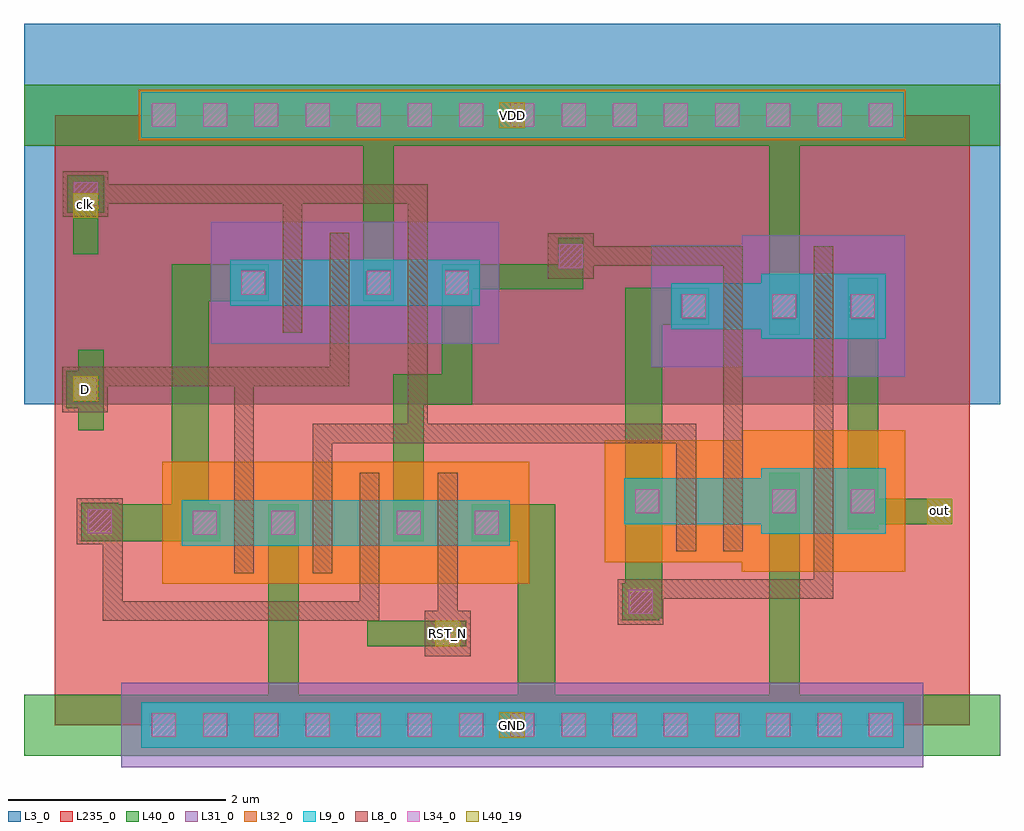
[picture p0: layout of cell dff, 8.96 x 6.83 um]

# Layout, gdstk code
from math import pi, radians
import gdstk
lib = gdstk.Library(unit=1e-6, precision=1e-09)
def R(c, l, rs):  # rectangles x0, y0, x1, y1
    for r in rs: c.add(gdstk.rectangle(r[:2], r[2:], *l))
def A(c, l, x, y, w, h, nx, ny, dx, dy):  # array of equal rectangles
    R(c, l, [(x+i*dx, y+j*dy, x+i*dx+w, y+j*dy+h) for i in range(nx) for j in range(ny)])
L3_0 = (3, 0)
L8_0 = (8, 0)
L9_0 = (9, 0)
L31_0 = (31, 0)
L32_0 = (32, 0)
L34_0 = (34, 0)
L40_0 = (40, 0)
L40_19 = (40, 19)
L235_0 = (235, 0)

nmos_18_cdns_78229601810 = lib.new_cell('nmos_18_CDNS_782296018100')
R(nmos_18_cdns_78229601810, L8_0, [(0.48,-0.25,0.66,0), (0.48,0,0.66,0.42), (0.48,0.42,0.66,0.67)])
R(nmos_18_cdns_78229601810, L9_0, [(0.21,0,0.48,0.42), (0.48,0,0.66,0.42), (0.66,0,0.785,0.42)])
R(nmos_18_cdns_78229601810, L32_0, [(0.03,-0.35,0.965,0.77)])
R(nmos_18_cdns_78229601810, L40_0, [(0.07,0.04,0.35,0.38)])
nmos_18_cdns_78229601810.add(gdstk.Label('[@instanceName]', (0.57,0.212), layer=77, texttype=7))

c_nmos_18_cdns_78229601810 = lib.new_cell('nmos_18_CDNS_782296018101')
R(c_nmos_18_cdns_78229601810, L8_0, [(0.48,-0.25,0.66,0), (0.48,0,0.66,0.42), (0.48,0.42,0.66,0.67)])
R(c_nmos_18_cdns_78229601810, L9_0, [(0.31,0,0.48,0.42), (0.48,0,0.66,0.42), (0.66,0,0.785,0.42)])
R(c_nmos_18_cdns_78229601810, L32_0, [(0.13,-0.35,0.965,0.77)])
c_nmos_18_cdns_78229601810.add(gdstk.Label('[@instanceName]', (0.57,0.212), layer=77, texttype=7))

pmos_18_cdns_78229601810 = lib.new_cell('pmos_18_CDNS_782296018102')
R(pmos_18_cdns_78229601810, L3_0, [(-0.22,-0.43,1.215,0.85)])
R(pmos_18_cdns_78229601810, L8_0, [(0.48,-0.25,0.66,0), (0.48,0,0.66,0.42), (0.48,0.42,0.66,0.67)])
R(pmos_18_cdns_78229601810, L9_0, [(0.21,0,0.48,0.42), (0.48,0,0.66,0.42), (0.66,0,0.785,0.42)])
R(pmos_18_cdns_78229601810, L31_0, [(0.03,-0.35,0.965,0.77)])
R(pmos_18_cdns_78229601810, L34_0, [(0.1,0.1,0.32,0.32)])
R(pmos_18_cdns_78229601810, L40_0, [(0.07,0.04,0.35,0.38)])
pmos_18_cdns_78229601810.add(gdstk.Label('[@instanceName]', (0.57,0.212), layer=77, texttype=7))

c_pmos_18_cdns_78229601810 = lib.new_cell('pmos_18_CDNS_782296018103')
R(c_pmos_18_cdns_78229601810, L3_0, [(-0.12,-0.43,1.57,0.85)])
R(c_pmos_18_cdns_78229601810, L8_0, [(0.48,-0.25,0.66,0), (0.48,0,0.66,0.42), (0.48,0.42,0.66,0.67)])
R(c_pmos_18_cdns_78229601810, L9_0, [(0.31,0,0.48,0.42), (0.48,0,0.66,0.42), (0.66,0,1.14,0.42)])
R(c_pmos_18_cdns_78229601810, L31_0, [(0.13,-0.35,1.32,0.77)])
R(c_pmos_18_cdns_78229601810, L34_0, [(0.82,0.1,1.04,0.32)])
R(c_pmos_18_cdns_78229601810, L40_0, [(0.79,0.04,1.07,0.38)])
c_pmos_18_cdns_78229601810.add(gdstk.Label('[@instanceName]', (0.57,0.212), layer=77, texttype=7))

c_pmos_18_cdns_78229601810_ = lib.new_cell('pmos_18_CDNS_782296018104')
R(c_pmos_18_cdns_78229601810_, L3_0, [(-0.22,-0.43,1.57,0.85)])
R(c_pmos_18_cdns_78229601810_, L8_0, [(0.48,-0.25,0.66,0), (0.48,0,0.66,0.42), (0.48,0.42,0.66,0.67)])
R(c_pmos_18_cdns_78229601810_, L9_0, [(0.21,0,0.48,0.42), (0.48,0,0.66,0.42), (0.66,0,1.14,0.42)])
R(c_pmos_18_cdns_78229601810_, L31_0, [(0.03,-0.35,1.32,0.77)])
R(c_pmos_18_cdns_78229601810_, L34_0, [(0.82,0.1,1.04,0.32)])
R(c_pmos_18_cdns_78229601810_, L40_0, [(0.07,0.04,0.35,0.38), (0.79,0.04,1.07,0.38)])
c_pmos_18_cdns_78229601810_.add(gdstk.Label('[@instanceName]', (0.57,0.212), layer=77, texttype=7))

c_nmos_18_cdns_78229601810_ = lib.new_cell('nmos_18_CDNS_782296018105')
R(c_nmos_18_cdns_78229601810_, L8_0, [(0.48,-0.25,0.66,0), (0.48,0,0.66,0.42), (0.48,0.42,0.66,0.67)])
R(c_nmos_18_cdns_78229601810_, L9_0, [(0.355,0,0.48,0.42), (0.48,0,0.66,0.42), (0.66,0,0.93,0.42)])
R(c_nmos_18_cdns_78229601810_, L32_0, [(0.175,-0.35,1.11,0.77)])
R(c_nmos_18_cdns_78229601810_, L34_0, [(0.82,0.1,1.04,0.32)])
R(c_nmos_18_cdns_78229601810_, L40_0, [(0.79,0.04,1.07,0.38)])
c_nmos_18_cdns_78229601810_.add(gdstk.Label('[@instanceName]', (0.57,0.212), layer=77, texttype=7))

c_pmos_18_cdns_78229601810__ = lib.new_cell('pmos_18_CDNS_782296018106')
R(c_pmos_18_cdns_78229601810__, L3_0, [(-0.43,-0.43,1.57,1.03)])
R(c_pmos_18_cdns_78229601810__, L8_0, [(0.48,-0.25,0.66,0), (0.48,0,0.66,0.6), (0.48,0.6,0.66,0.85)])
R(c_pmos_18_cdns_78229601810__, L9_0, [(0,0,0.48,0.6), (0.48,0,0.66,0.6), (0.66,0,1.14,0.6)])
R(c_pmos_18_cdns_78229601810__, L31_0, [(-0.18,-0.35,1.32,0.95)])
R(c_pmos_18_cdns_78229601810__, L34_0, [(0.1,0.19,0.32,0.41), (0.82,0.19,1.04,0.41)])
R(c_pmos_18_cdns_78229601810__, L40_0, [(0.07,0.04,0.35,0.56), (0.79,0.04,1.07,0.56)])
c_pmos_18_cdns_78229601810__.add(gdstk.Label('[@instanceName]', (0.57,0.302), layer=77, texttype=7))

c_pmos_18_cdns_78229601810___ = lib.new_cell('pmos_18_CDNS_782296018107')
R(c_pmos_18_cdns_78229601810___, L3_0, [(-0.075,-0.43,1.57,0.85)])
R(c_pmos_18_cdns_78229601810___, L8_0, [(0.48,-0.25,0.66,0), (0.48,0,0.66,0.42), (0.48,0.42,0.66,0.67)])
R(c_pmos_18_cdns_78229601810___, L9_0, [(0.355,0,0.48,0.42), (0.48,0,0.66,0.42), (0.66,0,1.14,0.42)])
R(c_pmos_18_cdns_78229601810___, L31_0, [(0.175,-0.35,1.32,0.77)])
R(c_pmos_18_cdns_78229601810___, L34_0, [(0.82,0.1,1.04,0.32)])
R(c_pmos_18_cdns_78229601810___, L40_0, [(0.79,0.04,1.07,0.38)])
c_pmos_18_cdns_78229601810___.add(gdstk.Label('[@instanceName]', (0.57,0.212), layer=77, texttype=7))

c_nmos_18_cdns_78229601810__ = lib.new_cell('nmos_18_CDNS_782296018108')
R(c_nmos_18_cdns_78229601810__, L8_0, [(0.48,-0.25,0.66,0), (0.48,0,0.66,0.42), (0.48,0.42,0.66,0.67)])
R(c_nmos_18_cdns_78229601810__, L9_0, [(0.355,0,0.48,0.42), (0.48,0,0.66,0.42), (0.66,0,1.14,0.42)])
R(c_nmos_18_cdns_78229601810__, L32_0, [(0.175,-0.35,1.32,0.77)])
R(c_nmos_18_cdns_78229601810__, L34_0, [(0.82,0.1,1.04,0.32)])
R(c_nmos_18_cdns_78229601810__, L40_0, [(0.79,0.04,1.07,0.38)])
c_nmos_18_cdns_78229601810__.add(gdstk.Label('[@instanceName]', (0.57,0.212), layer=77, texttype=7))

c_nmos_18_cdns_78229601810___ = lib.new_cell('nmos_18_CDNS_782296018109')
R(c_nmos_18_cdns_78229601810___, L8_0, [(0.48,-0.25,0.66,0), (0.48,0,0.66,0.6), (0.48,0.6,0.66,0.85)])
R(c_nmos_18_cdns_78229601810___, L9_0, [(0,0,0.48,0.6), (0.48,0,0.66,0.6), (0.66,0,1.14,0.6)])
R(c_nmos_18_cdns_78229601810___, L32_0, [(-0.18,-0.35,1.32,0.95)])
R(c_nmos_18_cdns_78229601810___, L34_0, [(0.1,0.19,0.32,0.41), (0.82,0.19,1.04,0.41)])
R(c_nmos_18_cdns_78229601810___, L40_0, [(0.07,0.04,0.35,0.56), (0.79,0.04,1.07,0.56)])
c_nmos_18_cdns_78229601810___.add(gdstk.Label('[@instanceName]', (0.57,0.302), layer=77, texttype=7))

c_nmos_18_cdns_78229601810____ = lib.new_cell('nmos_18_CDNS_7822960181010')
R(c_nmos_18_cdns_78229601810____, L8_0, [(0.48,-0.25,0.66,0), (0.48,0,0.66,0.42), (0.48,0.42,0.66,0.67)])
R(c_nmos_18_cdns_78229601810____, L9_0, [(0.21,0,0.48,0.42), (0.48,0,0.66,0.42), (0.66,0,1.14,0.42)])
R(c_nmos_18_cdns_78229601810____, L32_0, [(0.03,-0.35,1.32,0.77)])
R(c_nmos_18_cdns_78229601810____, L34_0, [(0.1,0.1,0.32,0.32), (0.82,0.1,1.04,0.32)])
R(c_nmos_18_cdns_78229601810____, L40_0, [(0.07,0.04,0.35,0.38), (0.79,0.04,1.07,0.38)])
c_nmos_18_cdns_78229601810____.add(gdstk.Label('[@instanceName]', (0.57,0.212), layer=77, texttype=7))

c_nmos_18_cdns_78229601810_____ = lib.new_cell('nmos_18_CDNS_7822960181011')
R(c_nmos_18_cdns_78229601810_____, L8_0, [(0.48,-0.25,0.66,0), (0.48,0,0.66,0.42), (0.48,0.42,0.66,0.67)])
R(c_nmos_18_cdns_78229601810_____, L9_0, [(0,0,0.48,0.42), (0.48,0,0.66,0.42), (0.66,0,0.93,0.42)])
R(c_nmos_18_cdns_78229601810_____, L32_0, [(-0.18,-0.35,1.11,0.77)])
R(c_nmos_18_cdns_78229601810_____, L34_0, [(0.1,0.1,0.32,0.32), (0.82,0.1,1.04,0.32)])
R(c_nmos_18_cdns_78229601810_____, L40_0, [(0.07,0.04,0.35,0.38), (0.79,0.04,1.07,0.38)])
c_nmos_18_cdns_78229601810_____.add(gdstk.Label('[@instanceName]', (0.57,0.212), layer=77, texttype=7))

ptap_lg_cdns_78229601810 = lib.new_cell('PTAP_LG_CDNS_782296018100')
R(ptap_lg_cdns_78229601810, L9_0, [(-3.5,-0.21,3.5,0.21)])
R(ptap_lg_cdns_78229601810, L31_0, [(-3.68,-0.39,3.68,0.39)])
A(ptap_lg_cdns_78229601810, L34_0, -3.4, -0.11, 0.22, 0.22, 15, 1, 0.47, 0)
R(ptap_lg_cdns_78229601810, L40_0, [(-3.46,-0.17,3.46,0.17)])

m1_po_4x_cdns_7822960181 = lib.new_cell('M1_PO_4X_CDNS_782296018101')
R(m1_po_4x_cdns_7822960181, L8_0, [(-0.21,-0.21,0.21,0.21)])
R(m1_po_4x_cdns_7822960181, L34_0, [(-0.11,-0.11,0.11,0.11)])
R(m1_po_4x_cdns_7822960181, L40_0, [(-0.115,-0.17,0.115,0.17)])

m1_po_cdns_782296018102 = lib.new_cell('M1_PO_CDNS_782296018102')
R(m1_po_cdns_782296018102, L8_0, [(-0.21,-0.21,0.21,0.21)])
R(m1_po_cdns_782296018102, L34_0, [(-0.11,-0.11,0.11,0.11)])
R(m1_po_cdns_782296018102, L40_0, [(-0.17,-0.17,0.17,0.17)])

m1_wn_cdns_782296018103 = lib.new_cell('M1_WN_CDNS_782296018103')
R(m1_wn_cdns_782296018103, L3_0, [(-3.68,-0.43,3.68,0.43)])
R(m1_wn_cdns_782296018103, L9_0, [(-3.5,-0.21,3.5,0.21)])
R(m1_wn_cdns_782296018103, L32_0, [(-3.52,-0.23,3.52,0.23)])
A(m1_wn_cdns_782296018103, L34_0, -3.4, -0.11, 0.22, 0.22, 15, 1, 0.47, 0)
R(m1_wn_cdns_782296018103, L40_0, [(-3.46,-0.17,3.46,0.17)])

c_m1_po_4x_cdns_7822960181 = lib.new_cell('M1_PO_4X_CDNS_782296018104')
R(c_m1_po_4x_cdns_7822960181, L8_0, [(-0.21,-0.21,0.21,0.21)])
R(c_m1_po_4x_cdns_7822960181, L34_0, [(-0.11,-0.11,0.11,0.11)])
R(c_m1_po_4x_cdns_7822960181, L40_0, [(-0.17,-0.115,0.17,0.115)])

dff = lib.new_cell('dff')
R(dff, L3_0, [(-0.28,2.945,8.68,6.44)])
R(dff, L40_0, [(-0.28,-0.28,8.68,0.28), (-0.28,5.32,8.68,5.88)])
R(dff, L40_19, [(4.085,-0.115,4.315,0.115), (3.495,0.725,3.725,0.955), (8.01,1.845,8.24,2.075), (0.17,2.97,0.4,3.2), (0.17,4.65,0.4,4.88), (4.085,5.485,4.315,5.715)])
R(dff, L235_0, [(0,0,8.4,5.6)])
dff.add(gdstk.FlexPath([(2.46,2.675),(2.46,2.315)], 0.18, ends=(0.09, 0), simple_path=True, layer=8, datatype=0))  # L8_0
dff.add(gdstk.FlexPath([(5.8,2.515),(5.8,2.675)], 0.18, ends=(0, 0.09), simple_path=True, layer=8, datatype=0))  # L8_0
dff.add(gdstk.FlexPath([(0.28,2.96),(0.28,3.08)], 0.42, ends=(0.09, 0), simple_path=True, layer=8, datatype=0))  # L8_0
dff.add(gdstk.FlexPath([(6.23,4.305),(4.74,4.305)], 0.18, ends=(0.09, 0), simple_path=True, layer=8, datatype=0))  # L8_0
dff.add(gdstk.FlexPath([(5.8,2.675),(3.335,2.675)], 0.18, ends="extended", simple_path=True, layer=8, datatype=0))  # L8_0
dff.add(gdstk.FlexPath([(5.38,1.25),(5.38,1.06)], 0.18, ends=(0.09, 0), simple_path=True, layer=8, datatype=0))  # L8_0
dff.add(gdstk.FlexPath([(7.06,1.25),(5.38,1.25)], 0.18, ends="extended", simple_path=True, layer=8, datatype=0))  # L8_0
dff.add(gdstk.FlexPath([(7.06,1.505),(7.06,1.25)], 0.18, ends=(0, 0.09), simple_path=True, layer=8, datatype=0))  # L8_0
dff.add(gdstk.FlexPath([(0.28,3.2),(0.28,2.875)], 0.18, ends=(0.09, 0), simple_path=True, layer=8, datatype=0))  # L8_0
dff.add(gdstk.FlexPath([(1.74,3.2),(0.28,3.2)], 0.18, ends="extended", simple_path=True, layer=8, datatype=0))  # L8_0
dff.add(gdstk.FlexPath([(3.335,2.675),(3.335,3.6)], 0.18, ends=(0.09, 0), simple_path=True, layer=8, datatype=0))  # L8_0
dff.add(gdstk.FlexPath([(3.335,2.675),(2.46,2.675)], 0.18, ends="extended", simple_path=True, layer=8, datatype=0))  # L8_0
dff.add(gdstk.FlexPath([(2.185,4.875),(0.285,4.875)], 0.18, ends=(0.09, 0), simple_path=True, layer=8, datatype=0))  # L8_0
dff.add(gdstk.FlexPath([(2.615,3.6),(2.615,3.2)], 0.18, ends=(0, 0.09), simple_path=True, layer=8, datatype=0))  # L8_0
dff.add(gdstk.FlexPath([(2.89,1.045),(0.535,1.045)], 0.18, ends="extended", simple_path=True, layer=8, datatype=0))  # L8_0
dff.add(gdstk.FlexPath([(1.74,2.315),(1.74,3.2)], 0.18, ends=(0, 0.09), simple_path=True, layer=8, datatype=0))  # L8_0
dff.add(gdstk.FlexPath([(7.06,3.295),(7.06,2.315)], 0.18, ends="flush", simple_path=True, layer=8, datatype=0))  # L8_0
dff.add(gdstk.FlexPath([(6.23,3.385),(6.23,2.225)], 0.18, ends="flush", simple_path=True, layer=8, datatype=0))  # L8_0
dff.add(gdstk.FlexPath([(0.535,1.045),(0.535,1.87)], 0.18, ends=(0.09, 0.21), simple_path=True, layer=8, datatype=0))  # L8_0
dff.add(gdstk.FlexPath([(0.535,1.87),(0.415,1.87)], 0.42, ends=(0.09, 0), simple_path=True, layer=8, datatype=0))  # L8_0
dff.add(gdstk.FlexPath([(2.185,4.875),(2.185,4.52)], 0.18, ends=(0.09, 0), simple_path=True, layer=8, datatype=0))  # L8_0
dff.add(gdstk.FlexPath([(3.335,4.875),(2.185,4.875)], 0.18, ends="extended", simple_path=True, layer=8, datatype=0))  # L8_0
dff.add(gdstk.FlexPath([(3.335,4.52),(3.335,4.875)], 0.18, ends=(0, 0.09), simple_path=True, layer=8, datatype=0))  # L8_0
dff.add(gdstk.FlexPath([(3.61,1.395),(3.61,0.79)], 0.18, ends="flush", simple_path=True, layer=8, datatype=0))  # L8_0
dff.add(gdstk.FlexPath([(2.89,1.395),(2.89,1.045)], 0.18, ends=(0, 0.09), simple_path=True, layer=8, datatype=0))  # L8_0
dff.add(gdstk.FlexPath([(2.615,3.2),(1.74,3.2)], 0.18, ends="extended", simple_path=True, layer=8, datatype=0))  # L8_0
dff.add(gdstk.FlexPath([(5.41,2.055),(5.58,2.055)], 0.23, ends=(0.17, 0), simple_path=True, layer=40, datatype=0))  # L40_0
dff.add(gdstk.FlexPath([(5.41,1.15),(5.38,1.15)], 0.34, ends=(0.17, 0), simple_path=True, layer=40, datatype=0))  # L40_0
dff.add(gdstk.FlexPath([(3.61,0.84),(2.87,0.84)], 0.23, ends="flush", simple_path=True, layer=40, datatype=0))  # L40_0
dff.add(gdstk.FlexPath([(2.1,1.685),(2.1,0.28)], 0.28, ends="flush", simple_path=True, layer=40, datatype=0))  # L40_0
dff.add(gdstk.FlexPath([(1.245,1.855),(1.24,1.855)], 0.34, ends=(0.17, 0), simple_path=True, layer=40, datatype=0))  # L40_0
dff.add(gdstk.FlexPath([(1.965,4.06),(1.245,4.06)], 0.34, ends=(0, 0.17), simple_path=True, layer=40, datatype=0))  # L40_0
dff.add(gdstk.FlexPath([(1.245,4.06),(1.245,1.855)], 0.34, ends="extended", simple_path=True, layer=40, datatype=0))  # L40_0
dff.add(gdstk.FlexPath([(4.425,1.855),(4.425,0.28)], 0.34, ends=(0.17, 0), simple_path=True, layer=40, datatype=0))  # L40_0
dff.add(gdstk.FlexPath([(4.11,1.855),(4.425,1.855)], 0.34, ends=(0, 0.17), simple_path=True, layer=40, datatype=0))  # L40_0
dff.add(gdstk.FlexPath([(4.74,4.115),(3.695,4.115)], 0.23, ends=(0.115, 0.14), simple_path=True, layer=40, datatype=0))  # L40_0
dff.add(gdstk.FlexPath([(4.74,4.385),(4.74,4.115)], 0.23, ends=(0, 0.115), simple_path=True, layer=40, datatype=0))  # L40_0
dff.add(gdstk.FlexPath([(3.25,2.025),(3.25,3.08)], 0.28, ends=(0, 0.14), simple_path=True, layer=40, datatype=0))  # L40_0
dff.add(gdstk.FlexPath([(3.25,3.08),(3.695,3.08)], 0.28, ends="extended", simple_path=True, layer=40, datatype=0))  # L40_0
dff.add(gdstk.FlexPath([(6.7,1.815),(6.7,0.28)], 0.28, ends="flush", simple_path=True, layer=40, datatype=0))  # L40_0
dff.add(gdstk.FlexPath([(3.695,3.08),(3.695,3.89)], 0.28, ends=(0.14, 0), simple_path=True, layer=40, datatype=0))  # L40_0
dff.add(gdstk.FlexPath([(5.38,1.13),(5.38,2.055)], 0.23, ends=(0.17, 0.115), simple_path=True, layer=40, datatype=0))  # L40_0
dff.add(gdstk.FlexPath([(6.7,3.825),(6.7,5.88)], 0.28, ends="flush", simple_path=True, layer=40, datatype=0))  # L40_0
dff.add(gdstk.FlexPath([(8.24,1.96),(7.56,1.96)], 0.23, ends="flush", simple_path=True, layer=40, datatype=0))  # L40_0
dff.add(gdstk.FlexPath([(0.335,2.875),(0.335,3.445)], 0.23, ends=(0.17, 0), simple_path=True, layer=40, datatype=0))  # L40_0
dff.add(gdstk.FlexPath([(0.28,2.875),(0.335,2.875)], 0.34, ends=(0, 0.115), simple_path=True, layer=40, datatype=0))  # L40_0
dff.add(gdstk.FlexPath([(0.285,4.875),(0.285,4.32)], 0.23, ends="flush", simple_path=True, layer=40, datatype=0))  # L40_0
dff.add(gdstk.FlexPath([(7.42,3.585),(7.42,2.07)], 0.28, ends="flush", simple_path=True, layer=40, datatype=0))  # L40_0
dff.add(gdstk.FlexPath([(6.01,3.845),(5.41,3.845)], 0.34, ends=(0, 0.17), simple_path=True, layer=40, datatype=0))  # L40_0
dff.add(gdstk.FlexPath([(5.41,3.845),(5.41,1.15)], 0.34, ends="extended", simple_path=True, layer=40, datatype=0))  # L40_0
dff.add(gdstk.FlexPath([(5.38,2.055),(5.41,2.055)], 0.23, ends=(0.115, 0.17), simple_path=True, layer=40, datatype=0))  # L40_0
dff.add(gdstk.FlexPath([(2.975,4.23),(2.975,5.6)], 0.28, ends="flush", simple_path=True, layer=40, datatype=0))  # L40_0
dff.add(gdstk.FlexPath([(0.415,1.87),(0.415,1.855)], 0.34, ends=(0, 0.17), simple_path=True, layer=40, datatype=0))  # L40_0
dff.add(gdstk.FlexPath([(0.415,1.855),(1.24,1.855)], 0.34, ends=(0.17, 0), simple_path=True, layer=40, datatype=0))  # L40_0
dff.add(gdstk.Reference(nmos_18_cdns_78229601810, (1.89,1.645)))
dff.add(gdstk.Reference(c_nmos_18_cdns_78229601810, (6.8,1.845), rotation=pi, x_reflection=True))
dff.add(gdstk.Reference(pmos_18_cdns_78229601810, (3.185,3.85), rotation=pi, x_reflection=True))
dff.add(gdstk.Reference(c_pmos_18_cdns_78229601810, (6.8,3.635), rotation=pi, x_reflection=True))
dff.add(gdstk.Reference(c_pmos_18_cdns_78229601810_, (2.765,3.85)))
dff.add(gdstk.Reference(c_nmos_18_cdns_78229601810_, (2.32,1.645)))
dff.add(gdstk.Reference(c_pmos_18_cdns_78229601810__, (6.49,3.545)))
dff.add(gdstk.Reference(c_pmos_18_cdns_78229601810___, (2.755,3.85), rotation=pi, x_reflection=True))
dff.add(gdstk.Reference(c_nmos_18_cdns_78229601810__, (6.37,1.845), rotation=pi, x_reflection=True))
dff.add(gdstk.Reference(c_nmos_18_cdns_78229601810___, (6.49,1.755)))
dff.add(gdstk.Reference(c_nmos_18_cdns_78229601810____, (2.31,1.645), rotation=pi, x_reflection=True))
dff.add(gdstk.Reference(c_nmos_18_cdns_78229601810_____, (4.18,1.645), rotation=pi, x_reflection=True))
dff.add(gdstk.Reference(ptap_lg_cdns_78229601810, (4.295,0)))
dff.add(gdstk.Reference(m1_po_4x_cdns_7822960181, (4.74,4.305)))
dff.add(gdstk.Reference(m1_po_cdns_782296018102, (5.38,1.13)))
dff.add(gdstk.Reference(m1_po_cdns_782296018102, (0.415,1.87)))
dff.add(gdstk.Reference(m1_po_cdns_782296018102, (0.28,3.08)))
dff.add(gdstk.Reference(m1_po_cdns_782296018102, (0.285,4.875)))
dff.add(gdstk.Reference(m1_wn_cdns_782296018103, (4.295,5.6)))
dff.add(gdstk.Reference(c_m1_po_4x_cdns_7822960181, (3.61,0.84)))
dff.add(gdstk.Label('RST_N', (3.61,0.84), layer=40, texttype=0))
dff.add(gdstk.Label('VDD', (4.2,5.6), layer=40, texttype=0))
dff.add(gdstk.Label('GND', (4.2,0), layer=40, texttype=0))
dff.add(gdstk.Label('RST_N', (3.61,0.86), layer=40, texttype=7))
dff.add(gdstk.Label('RST_N', (3.61,0.86), layer=40, texttype=7))
dff.add(gdstk.Label('RST_N', (3.59,0.855), layer=40, texttype=7))
dff.add(gdstk.Label('RST_N', (3.61,0.865), layer=40, texttype=7))
dff.add(gdstk.Label('RST_N', (3.61,0.865), layer=40, texttype=7))
dff.add(gdstk.Label('RST_N', (3.62,0.845), layer=40, texttype=7))
dff.add(gdstk.Label('RST_N', (3.625,0.845), layer=40, texttype=7))
dff.add(gdstk.Label('RST_N', (3.625,0.845), layer=40, texttype=7))
dff.add(gdstk.Label('VDD', (4.19,5.595), layer=40, texttype=7))
dff.add(gdstk.Label('out', (8.125,1.965), layer=40, texttype=7))
dff.add(gdstk.Label('RST_N', (3.625,0.845), layer=40, texttype=7))
dff.add(gdstk.Label('RST_N', (3.61,0.85), layer=40, texttype=7))
dff.add(gdstk.Label('D', (0.285,3.08), layer=40, texttype=7))
dff.add(gdstk.Label('GND', (4.2,0), layer=40, texttype=7))
dff.add(gdstk.Label('RST_N', (3.625,0.855), layer=40, texttype=7))
dff.add(gdstk.Label('RST_N', (3.615,0.85), layer=40, texttype=7))
dff.add(gdstk.Label('clk', (0.28,4.78), layer=40, texttype=7))
dff.add(gdstk.Label('RST_N', (3.62,0.84), layer=40, texttype=7))

lib.write_gds('dff.gds')
